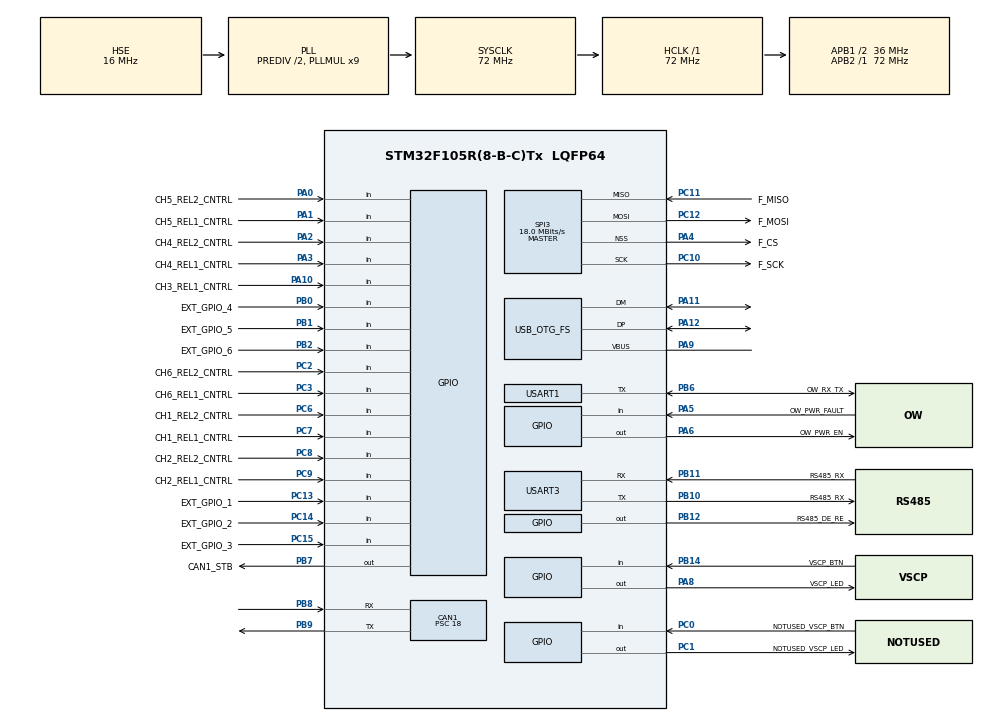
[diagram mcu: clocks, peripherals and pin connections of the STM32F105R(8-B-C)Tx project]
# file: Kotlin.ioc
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CAN1.ABOM=ENABLE
CAN1.BS1=CAN_BS1_13TQ
CAN1.BS2=CAN_BS2_2TQ
CAN1.CalculateTimeBit=8000
CAN1.CalculateTimeQuantum=500.0
CAN1.Prescaler=18
CAN1.SJW=CAN_SJW_4TQ
FREERTOS.INCLUDE_vTaskDelayUntil=1
FREERTOS.Queues01=queueVSCP_LED_task,4,VSCP_LAMP_STATE,NULL
FREERTOS.Tasks01=defaultTask,0,128,StartDefaultTask,Default;VSCP_core,0,128,taskVSCP_core_process,Default;VSCP_timer,0,128,taskVSCP_timer_process,Default;VSCP_LED,-1,128,taskVSCP_LED_worker,Default
FREERTOS.configUSE_TIMERS=0
Mcu.Family=STM32F1
Mcu.Name=STM32F105R(8-B-C)Tx
Mcu.Package=LQFP64
Mcu.UserConstants=VSCP_CORE_PERIOD,100;VSCP_TIMER_PERIOD,1000;VSCP_LED_PERIOD_FAST,100;VSCP_LED_PERIOD_SLOW,800;VSCP_CAN_TX_TIMEOUT_MS,10
NVIC.CAN1_RX0_IRQn=true\:5\:0\:false\:false\:true\:true\:true
NVIC.CAN1_TX_IRQn=true\:5\:0\:false\:false\:true\:true\:true
NVIC.OTG_FS_IRQn=true\:5\:0\:false\:false\:true\:true\:true
NVIC.PriorityGroup=NVIC_PRIORITYGROUP_4
NVIC.TIM7_IRQn=true\:0\:0\:false\:false\:true\:false\:false
NVIC.TimeBase=TIM7_IRQn
NVIC.TimeBaseIP=TIM7
PA0-WKUP.GPIO_Label=CH5_REL2_CNTRL
PA0-WKUP.Signal=GPIO_Input
PA1.GPIO_Label=CH5_REL1_CNTRL
PA1.Signal=GPIO_Input
PA10.GPIO_Label=CH3_REL1_CNTRL
PA10.Signal=GPIO_Input
PA11.Mode=Device_Only
PA11.Signal=USB_OTG_FS_DM
PA12.Mode=Device_Only
PA12.Signal=USB_OTG_FS_DP
PA13.Mode=Trace_Asynchronous_SW
PA13.Signal=SYS_JTMS-SWDIO
PA14.Mode=Trace_Asynchronous_SW
PA14.Signal=SYS_JTCK-SWCLK
PA2.GPIO_Label=CH4_REL2_CNTRL
PA2.Signal=GPIO_Input
PA3.GPIO_Label=CH4_REL1_CNTRL
PA3.Signal=GPIO_Input
PA4.GPIO_Label=F_CS
PA4.Mode=NSS_Signal_Hard_Output
PA4.Signal=SPI3_NSS
PA5.GPIO_Label=OW_PWR_FAULT
PA5.Signal=GPIO_Input
PA6.GPIO_Label=OW_PWR_EN
PA6.Signal=GPIO_Output
PA8.GPIO_Label=VSCP_LED
PA8.Signal=GPIO_Output
PA9.Mode=Activate_VBUS
PA9.Signal=USB_OTG_FS_VBUS
PB0.GPIO_Label=EXT_GPIO_4
PB0.GPIO_PuPd=GPIO_PULLDOWN
PB0.Signal=GPIO_Input
PB1.GPIO_Label=EXT_GPIO_5
PB1.GPIO_PuPd=GPIO_PULLDOWN
PB1.Signal=GPIO_Input
PB10.GPIO_Label=RS485_RX
PB10.Mode=Asynchronous
PB10.Signal=USART3_TX
PB11.GPIO_Label=RS485_RX
PB11.Mode=Asynchronous
PB11.Signal=USART3_RX
PB12.GPIO_Label=RS485_DE_RE
PB12.Signal=GPIO_Output
PB13.GPIO_Label=EXT_SPI_SCK
PB13.Signal=SPI2_SCK
PB14.GPIO_Label=VSCP_BTN
PB14.Signal=GPIO_Input
PB15.GPIO_Label=EXT_SPI_MOSI
PB15.Signal=SPI2_MOSI
PB2.GPIO_Label=EXT_GPIO_6
PB2.GPIO_PuPd=GPIO_PULLDOWN
PB2.Signal=GPIO_Input
PB3.Mode=Trace_Asynchronous_SW
PB3.Signal=SYS_TRACESWO
PB6.GPIO_Label=OW_RX_TX
PB6.Mode=Half_duplex(single_wire_mode)
PB6.Signal=USART1_TX
PB7.GPIO_Label=CAN1_STB
PB7.GPIO_ModeDefaultOutputPP=GPIO_MODE_OUTPUT_PP
PB7.GPIO_Speed=GPIO_SPEED_FREQ_LOW
PB7.PinState=GPIO_PIN_SET
PB7.Signal=GPIO_Output
PB8.Mode=Master
PB8.Signal=CAN1_RX
PB9.Mode=Master
PB9.Signal=CAN1_TX
PC0.GPIO_Label=NOTUSED_VSCP_BTN
PC0.Signal=GPIO_Input
PC1.GPIO_Label=NOTUSED_VSCP_LED
PC1.Signal=GPIO_Output
PC10.GPIO_Label=F_SCK
PC10.Mode=Full_Duplex_Master
PC10.Signal=SPI3_SCK
PC11.GPIO_Label=F_MISO
PC11.Mode=Full_Duplex_Master
PC11.Signal=SPI3_MISO
PC12.GPIO_Label=F_MOSI
PC12.Mode=Full_Duplex_Master
PC12.Signal=SPI3_MOSI
PC13-TAMPER-RTC.GPIO_Label=EXT_GPIO_1
PC13-TAMPER-RTC.Signal=GPIO_Input
PC14-OSC32_IN.GPIO_Label=EXT_GPIO_2
PC14-OSC32_IN.Signal=GPIO_Input
PC15-OSC32_OUT.GPIO_Label=EXT_GPIO_3
PC15-OSC32_OUT.Signal=GPIO_Input
PC2.GPIO_Label=CH6_REL2_CNTRL
PC2.Signal=SharedStack_PC2
PC3.GPIO_Label=CH6_REL1_CNTRL
PC3.Signal=GPIO_Input
PC6.GPIO_Label=CH1_REL2_CNTRL
PC6.Signal=GPIO_Input
PC7.GPIO_Label=CH1_REL1_CNTRL
PC7.Signal=GPIO_Input
PC8.GPIO_Label=CH2_REL2_CNTRL
PC8.Signal=GPIO_Input
PC9.GPIO_Label=CH2_REL1_CNTRL
PC9.Signal=GPIO_Input
PD0-OSC_IN.Mode=HSE-External-Oscillator
PD0-OSC_IN.Signal=RCC_OSC_IN
PD1-OSC_OUT.Mode=HSE-External-Oscillator
PD1-OSC_OUT.Signal=RCC_OSC_OUT
ProjectManager.HeapSize=0x400
ProjectManager.StackSize=0x200
ProjectManager.TargetToolchain=MDK-ARM V5
RCC.AHBFreq_Value=72000000
RCC.APB1CLKDivider=RCC_HCLK_DIV2
RCC.APB1Freq_Value=36000000
RCC.APB1TimFreq_Value=72000000
RCC.APB2Freq_Value=72000000
RCC.APB2TimFreq_Value=72000000
RCC.HCLKFreq_Value=72000000
RCC.HSEDivPLL=RCC_HSE_PREDIV_DIV2
RCC.HSE_VALUE=16000000
RCC.PLLMUL=RCC_PLL_MUL9
RCC.PLLSourceVirtual=RCC_PLLSOURCE_HSE
RCC.SYSCLKFreq_VALUE=72000000
RCC.SYSCLKSource=RCC_SYSCLKSOURCE_PLLCLK
RCC.USBFreq_Value=48000000
SH.SharedStack_PC2.0=GPIO_Input
SPI3.CalculateBaudRate=18.0 MBits/s
SPI3.Direction=SPI_DIRECTION_2LINES
SPI3.Mode=SPI_MODE_MASTER
SPI3.VirtualNSS=VM_NSSHARD
SPI3.VirtualType=VM_MASTER
USART1.VirtualMode=VM_ASYNC
USART3.VirtualMode=VM_ASYNC
USB_DEVICE.CLASS_NAME_FS=CDC
USB_DEVICE.VirtualMode=Cdc
USB_DEVICE.VirtualModeFS=Cdc_FS
USB_OTG_FS.VirtualMode=Device_Only
VP_FREERTOS_VS_ENABLE.Mode=Enabled
VP_SYS_VS_tim7.Mode=TIM7
VP_USB_DEVICE_VS_USB_DEVICE_CDC_FS.Mode=CDC_FS
board=Kotlin

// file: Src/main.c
/**
  ******************************************************************************
  * File Name          : main.c
  * Description        : Main program body
  ******************************************************************************
  * This notice applies to any and all portions of this file
  * that are not between comment pairs USER CODE BEGIN and
  * USER CODE END. Other portions of this file, whether
  * inserted by the user or by software development tools
  * are owned by their respective copyright owners.
  *
  * Copyright (c) 2017 STMicroelectronics International N.V.
  * All rights reserved.
  *
  * Redistribution and use in source and binary forms, with or without
  * modification, are permitted, provided that the following conditions are met:
  *
  * 1. Redistribution of source code must retain the above copyright notice,
  *    this list of conditions and the following disclaimer.
  * 2. Redistributions in binary form must reproduce the above copyright notice,
  *    this list of conditions and the following disclaimer in the documentation
  *    and/or other materials provided with the distribution.
  * 3. Neither the name of STMicroelectronics nor the names of other
  *    contributors to this software may be used to endorse or promote products
  *    derived from this software without specific written permission.
  * 4. This software, including modifications and/or derivative works of this
  *    software, must execute solely and exclusively on microcontroller or
  *    microprocessor devices manufactured by or for STMicroelectronics.
  * 5. Redistribution and use of this software other than as permitted under
  *    this license is void and will automatically terminate your rights under
  *    this license.
  *
  * THIS SOFTWARE IS PROVIDED BY STMICROELECTRONICS AND CONTRIBUTORS "AS IS"
  * AND ANY EXPRESS, IMPLIED OR STATUTORY WARRANTIES, INCLUDING, BUT NOT
  * LIMITED TO, THE IMPLIED WARRANTIES OF MERCHANTABILITY, FITNESS FOR A
  * PARTICULAR PURPOSE AND NON-INFRINGEMENT OF THIRD PARTY INTELLECTUAL PROPERTY
  * RIGHTS ARE DISCLAIMED TO THE FULLEST EXTENT PERMITTED BY LAW. IN NO EVENT
  * SHALL STMICROELECTRONICS OR CONTRIBUTORS BE LIABLE FOR ANY DIRECT, INDIRECT,
  * INCIDENTAL, SPECIAL, EXEMPLARY, OR CONSEQUENTIAL DAMAGES (INCLUDING, BUT NOT
  * LIMITED TO, PROCUREMENT OF SUBSTITUTE GOODS OR SERVICES; LOSS OF USE, DATA,
  * OR PROFITS; OR BUSINESS INTERRUPTION) HOWEVER CAUSED AND ON ANY THEORY OF
  * LIABILITY, WHETHER IN CONTRACT, STRICT LIABILITY, OR TORT (INCLUDING
  * NEGLIGENCE OR OTHERWISE) ARISING IN ANY WAY OUT OF THE USE OF THIS SOFTWARE,
  * EVEN IF ADVISED OF THE POSSIBILITY OF SUCH DAMAGE.
  *
  ******************************************************************************
  */

#include "main.h"
#include "stm32f1xx_hal.h"
#include "cmsis_os.h"
#include "can.h"
#include "spi.h"
#include "usart.h"
#include "usb_device.h"
#include "gpio.h"

/* USER CODE BEGIN Includes */
#include "vscp_core.h"
#include "eeprom.h"
/* USER CODE END Includes */

/* USER CODE BEGIN PV */
/* Private variables ---------------------------------------------------------*/

/* USER CODE END PV */

void SystemClock_Config(void);
void MX_FREERTOS_Init(void);

/* USER CODE BEGIN PFP */
/* Private function prototypes -----------------------------------------------*/

/* USER CODE END PFP */

/* USER CODE BEGIN 0 */
int fputc(int c, FILE *stream)
{
   return(ITM_SendChar(c));
}
/* USER CODE END 0 */

int main(void)
{

  /* MCU Configuration----------------------------------------------------------*/

  /* Reset of all peripherals, Initializes the Flash interface and the Systick. */
  HAL_Init();

  /* Configure the system clock */
  SystemClock_Config();

  /* Initialize all configured peripherals */
  MX_GPIO_Init();
  MX_CAN1_Init();
  MX_SPI3_Init();
  MX_USART3_UART_Init();
  MX_USART1_UART_Init();

  /* USER CODE BEGIN 2 */
  HAL_FLASH_Unlock();
  vscp_core_init();

  /* USER CODE END 2 */

  /* Call init function for freertos objects (in freertos.c) */
  MX_FREERTOS_Init();

  /* Start scheduler */
  osKernelStart();

  /* We should never get here as control is now taken by the scheduler */

  /* Infinite loop */
  while (1)
  {

  }

}

/** System Clock Configuration
*/
void SystemClock_Config(void)
{

  RCC_OscInitTypeDef RCC_OscInitStruct;
  RCC_ClkInitTypeDef RCC_ClkInitStruct;
  RCC_PeriphCLKInitTypeDef PeriphClkInit;

    /**Initializes the CPU, AHB and APB busses clocks
    */
  RCC_OscInitStruct.OscillatorType = RCC_OSCILLATORTYPE_HSE;
  RCC_OscInitStruct.HSEState = RCC_HSE_ON;
  RCC_OscInitStruct.HSEPredivValue = RCC_HSE_PREDIV_DIV2;
  RCC_OscInitStruct.HSIState = RCC_HSI_ON;
  RCC_OscInitStruct.Prediv1Source = RCC_PREDIV1_SOURCE_HSE;
  RCC_OscInitStruct.PLL.PLLState = RCC_PLL_ON;
  RCC_OscInitStruct.PLL.PLLSource = RCC_PLLSOURCE_HSE;
  RCC_OscInitStruct.PLL.PLLMUL = RCC_PLL_MUL9;
  RCC_OscInitStruct.PLL2.PLL2State = RCC_PLL_NONE;
  if (HAL_RCC_OscConfig(&RCC_OscInitStruct) != HAL_OK)
  {
    _Error_Handler(__FILE__, __LINE__);
  }

    /**Initializes the CPU, AHB and APB busses clocks
    */
  RCC_ClkInitStruct.ClockType = RCC_CLOCKTYPE_HCLK|RCC_CLOCKTYPE_SYSCLK
                              |RCC_CLOCKTYPE_PCLK1|RCC_CLOCKTYPE_PCLK2;
  RCC_ClkInitStruct.SYSCLKSource = RCC_SYSCLKSOURCE_PLLCLK;
  RCC_ClkInitStruct.AHBCLKDivider = RCC_SYSCLK_DIV1;
  RCC_ClkInitStruct.APB1CLKDivider = RCC_HCLK_DIV2;
  RCC_ClkInitStruct.APB2CLKDivider = RCC_HCLK_DIV1;

  if (HAL_RCC_ClockConfig(&RCC_ClkInitStruct, FLASH_LATENCY_2) != HAL_OK)
  {
    _Error_Handler(__FILE__, __LINE__);
  }

  PeriphClkInit.PeriphClockSelection = RCC_PERIPHCLK_USB;
  PeriphClkInit.UsbClockSelection = RCC_USBCLKSOURCE_PLL_DIV3;
  if (HAL_RCCEx_PeriphCLKConfig(&PeriphClkInit) != HAL_OK)
  {
    _Error_Handler(__FILE__, __LINE__);
  }

    /**Configure the Systick interrupt time
    */
  HAL_SYSTICK_Config(HAL_RCC_GetHCLKFreq()/1000);

    /**Configure the Systick
    */
  HAL_SYSTICK_CLKSourceConfig(SYSTICK_CLKSOURCE_HCLK);

    /**Configure the Systick interrupt time
    */
  __HAL_RCC_PLLI2S_ENABLE();

  /* SysTick_IRQn interrupt configuration */
  HAL_NVIC_SetPriority(SysTick_IRQn, 15, 0);
}

void HAL_TIM_PeriodElapsedCallback(TIM_HandleTypeDef *htim)
{
  if (htim->Instance == TIM7) {
    HAL_IncTick();
  }
}

void _Error_Handler(char * file, int line)
{
  while(1)
  {
  }
}

/************************ (C) COPYRIGHT STMicroelectronics *****END OF FILE****/

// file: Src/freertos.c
/**
  ******************************************************************************
  * File Name          : freertos.c
  * Description        : Code for freertos applications
  ******************************************************************************
  * This notice applies to any and all portions of this file
  * that are not between comment pairs USER CODE BEGIN and
  * USER CODE END. Other portions of this file, whether
  * inserted by the user or by software development tools
  * are owned by their respective copyright owners.
  *
  * Copyright (c) 2017 STMicroelectronics International N.V.
  * All rights reserved.
  *
  * Redistribution and use in source and binary forms, with or without
  * modification, are permitted, provided that the following conditions are met:
  *
  * 1. Redistribution of source code must retain the above copyright notice,
  *    this list of conditions and the following disclaimer.
  * 2. Redistributions in binary form must reproduce the above copyright notice,
  *    this list of conditions and the following disclaimer in the documentation
  *    and/or other materials provided with the distribution.
  * 3. Neither the name of STMicroelectronics nor the names of other
  *    contributors to this software may be used to endorse or promote products
  *    derived from this software without specific written permission.
  * 4. This software, including modifications and/or derivative works of this
  *    software, must execute solely and exclusively on microcontroller or
  *    microprocessor devices manufactured by or for STMicroelectronics.
  * 5. Redistribution and use of this software other than as permitted under
  *    this license is void and will automatically terminate your rights under
  *    this license.
  *
  * THIS SOFTWARE IS PROVIDED BY STMICROELECTRONICS AND CONTRIBUTORS "AS IS"
  * AND ANY EXPRESS, IMPLIED OR STATUTORY WARRANTIES, INCLUDING, BUT NOT
  * LIMITED TO, THE IMPLIED WARRANTIES OF MERCHANTABILITY, FITNESS FOR A
  * PARTICULAR PURPOSE AND NON-INFRINGEMENT OF THIRD PARTY INTELLECTUAL PROPERTY
  * RIGHTS ARE DISCLAIMED TO THE FULLEST EXTENT PERMITTED BY LAW. IN NO EVENT
  * SHALL STMICROELECTRONICS OR CONTRIBUTORS BE LIABLE FOR ANY DIRECT, INDIRECT,
  * INCIDENTAL, SPECIAL, EXEMPLARY, OR CONSEQUENTIAL DAMAGES (INCLUDING, BUT NOT
  * LIMITED TO, PROCUREMENT OF SUBSTITUTE GOODS OR SERVICES; LOSS OF USE, DATA,
  * OR PROFITS; OR BUSINESS INTERRUPTION) HOWEVER CAUSED AND ON ANY THEORY OF
  * LIABILITY, WHETHER IN CONTRACT, STRICT LIABILITY, OR TORT (INCLUDING
  * NEGLIGENCE OR OTHERWISE) ARISING IN ANY WAY OUT OF THE USE OF THIS SOFTWARE,
  * EVEN IF ADVISED OF THE POSSIBILITY OF SUCH DAMAGE.
  *
  ******************************************************************************
  */

#include "FreeRTOS.h"
#include "task.h"
#include "cmsis_os.h"

/* USER CODE BEGIN Includes */
#include "vscp_core.h"
#include "vscp_timer.h"
#include "main.h"
#include "gpio.h"
/* USER CODE END Includes */

osThreadId defaultTaskHandle;
osThreadId VSCP_coreHandle;
osThreadId VSCP_timerHandle;
osThreadId VSCP_LEDHandle;
osMessageQId queueVSCP_LED_taskHandle;

void StartDefaultTask(void const * argument);
void taskVSCP_core_process(void const * argument);
void taskVSCP_timer_process(void const * argument);
void taskVSCP_LED_worker(void const * argument);

extern void MX_USB_DEVICE_Init(void);
void MX_FREERTOS_Init(void); /* (MISRA C 2004 rule 8.1) */

/* Hook prototypes */

/* Init FreeRTOS */

void MX_FREERTOS_Init(void) {

  /* Create the thread(s) */
  /* definition and creation of defaultTask */
  osThreadDef(defaultTask, StartDefaultTask, osPriorityNormal, 0, 128);
  defaultTaskHandle = osThreadCreate(osThread(defaultTask), NULL);

  /* definition and creation of VSCP_core */
  osThreadDef(VSCP_core, taskVSCP_core_process, osPriorityNormal, 0, 128);
  VSCP_coreHandle = osThreadCreate(osThread(VSCP_core), NULL);

  /* definition and creation of VSCP_timer */
  osThreadDef(VSCP_timer, taskVSCP_timer_process, osPriorityNormal, 0, 128);
  VSCP_timerHandle = osThreadCreate(osThread(VSCP_timer), NULL);

  /* definition and creation of VSCP_LED */
  osThreadDef(VSCP_LED, taskVSCP_LED_worker, osPriorityBelowNormal, 0, 128);
  VSCP_LEDHandle = osThreadCreate(osThread(VSCP_LED), NULL);

  /* Create the queue(s) */
  /* definition and creation of queueVSCP_LED_task */
  osMessageQDef(queueVSCP_LED_task, 4, VSCP_LAMP_STATE);
  queueVSCP_LED_taskHandle = osMessageCreate(osMessageQ(queueVSCP_LED_task), NULL);

}

/* StartDefaultTask function */
void StartDefaultTask(void const * argument)
{
  /* init code for USB_DEVICE */
  MX_USB_DEVICE_Init();

  for(;;)
  {
    osDelay(1);
  }
}

/* taskVSCP_core_process function */
void taskVSCP_core_process(void const * argument)
{
  /* USER CODE BEGIN taskVSCP_core_process */
  TickType_t xLastWakeTime;
  volatile uint8_t VSCP_Button_pressed = 0;

  vscp_core_init();
  xLastWakeTime = xTaskGetTickCount();
  /* Infinite loop */
  for(;;)
  {
    osDelayUntil(&xLastWakeTime, VSCP_CORE_PERIOD/portTICK_PERIOD_MS);
    xLastWakeTime = xTaskGetTickCount();
    vscp_core_process();
    //VSCP_Button_pressed = !HAL_GPIO_ReadPin(VSCP_BTN_GPIO_Port, VSCP_BTN_Pin);
    if (!HAL_GPIO_ReadPin(VSCP_BTN_GPIO_Port, VSCP_BTN_Pin))
    {
        vscp_core_startNodeSegmentInit();
        VSCP_Button_pressed = 0;
    }

  }
  /* USER CODE END taskVSCP_core_process */
}

/* taskVSCP_timer_process function */
void taskVSCP_timer_process(void const * argument)
{
  /* USER CODE BEGIN taskVSCP_timer_process */
  TickType_t xLastWakeTime;
  xLastWakeTime = xTaskGetTickCount();
  /* Infinite loop */
  for(;;)
  {
    osDelayUntil(&xLastWakeTime, (VSCP_TIMER_PERIOD/portTICK_PERIOD_MS));
    xLastWakeTime = xTaskGetTickCount();
    vscp_timer_process(VSCP_TIMER_PERIOD);
  }
  /* USER CODE END taskVSCP_timer_process */
}

/* taskVSCP_LED_worker function */
void taskVSCP_LED_worker(void const * argument)
{
  /* USER CODE BEGIN taskVSCP_LED_worker */
  VSCP_LAMP_STATE state;
  TickType_t Period = portMAX_DELAY ;

  /* Infinite loop */
  for(;;)
  {
         xQueueReceive( queueVSCP_LED_taskHandle, &( state ), Period );
         switch (state)
         {
             case VSCP_LAMP_STATE_ON:
                 Period = portMAX_DELAY;
                 HAL_GPIO_WritePin(VSCP_LED_GPIO_Port, VSCP_LED_Pin, GPIO_PIN_RESET);
                 break;
             case VSCP_LAMP_STATE_OFF:
                 Period = portMAX_DELAY;
                 HAL_GPIO_WritePin(VSCP_LED_GPIO_Port, VSCP_LED_Pin, GPIO_PIN_SET);
                 break;
             case VSCP_LAMP_STATE_BLINK_FAST:
                 Period = VSCP_LED_PERIOD_FAST / portTICK_PERIOD_MS;
                 HAL_GPIO_TogglePin(VSCP_LED_GPIO_Port, VSCP_LED_Pin);
                 break;
             case VSCP_LAMP_STATE_BLINK_SLOW:
                 Period = VSCP_LED_PERIOD_SLOW / portTICK_PERIOD_MS;
                 HAL_GPIO_TogglePin(VSCP_LED_GPIO_Port, VSCP_LED_Pin);
                 break;
             default:
                 break;
       }
  }
  /* USER CODE END taskVSCP_LED_worker */
}

/************************ (C) COPYRIGHT STMicroelectronics *****END OF FILE****/
